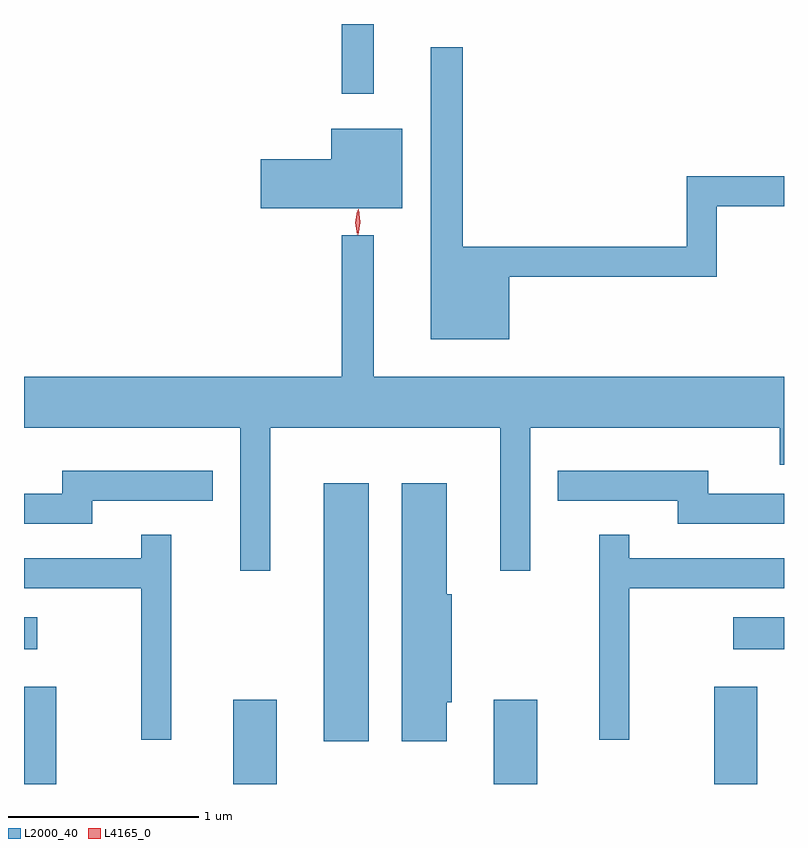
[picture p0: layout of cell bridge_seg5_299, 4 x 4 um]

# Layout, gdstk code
import gdstk
lib = gdstk.Library(unit=1e-6, precision=1e-09)
def R(c, l, rs):  # rectangles x0, y0, x1, y1
    for r in rs: c.add(gdstk.rectangle(r[:2], r[2:], *l))
def P(c, l, *ps):  # polygons
    for p in ps: c.add(gdstk.Polygon(p, *l))
L2000_40 = (2000, 40)
L4165_0 = (4165, 0)

bridge_seg5_299 = lib.new_cell('bridge_seg5_299')
R(bridge_seg5_299, L2000_40, [(670.259,1517.081,670.429,1517.594), (671.361,1517.081,671.589,1517.524), (672.731,1517.081,672.959,1517.524), (673.891,1517.081,674.119,1517.594), (671.836,1517.306,672.074,1518.664), (670.259,1517.791,670.328,1517.959), (673.993,1517.791,674.259,1517.959), (671.931,1520.713,672.099,1521.081)])
P(bridge_seg5_299, L2000_40, [(672.814,1519.751),(673.904,1519.751),(673.904,1520.121),(674.259,1520.121),(674.259,1520.279),(673.746,1520.279),(673.746,1519.909),(672.569,1519.909),(672.569,1520.958),(672.401,1520.958),(672.401,1519.421),(672.814,1519.421)],
  [(672.249,1520.529),(671.876,1520.529),(671.876,1520.369),(671.506,1520.369),(671.506,1520.111),(672.249,1520.111)],
  [(671.554,1518.956),(672.766,1518.956),(672.766,1518.203),(672.924,1518.203),(672.924,1518.956),(674.236,1518.956),(674.236,1518.761),(674.259,1518.761),(674.259,1519.224),(672.099,1519.224),(672.099,1519.968),(671.931,1519.968),(671.931,1519.224),(670.259,1519.224),(670.259,1518.956),(671.396,1518.956),(671.396,1518.203),(671.554,1518.203)],
  [(670.619,1518.571),(671.253,1518.571),(671.253,1518.729),(670.461,1518.729),(670.461,1518.609),(670.259,1518.609),(670.259,1518.451),(670.619,1518.451)],
  [(674.259,1518.609),(673.859,1518.609),(673.859,1518.729),(673.068,1518.729),(673.068,1518.571),(673.701,1518.571),(673.701,1518.451),(674.259,1518.451)],
  [(672.484,1517.511),(672.509,1517.511),(672.509,1518.079),(672.484,1518.079),(672.484,1518.664),(672.246,1518.664),(672.246,1517.306),(672.484,1517.306)],
  [(673.444,1518.111),(674.259,1518.111),(674.259,1518.269),(673.444,1518.269),(673.444,1518.393),(673.286,1518.393),(673.286,1517.313),(673.444,1517.313)],
  [(671.034,1518.393),(670.876,1518.393),(670.876,1518.269),(670.259,1518.269),(670.259,1518.111),(670.876,1518.111),(670.876,1517.313),(671.034,1517.313)])
P(bridge_seg5_299, L4165_0, [(672.013,1519.973),(672.012,1519.974),(672.003,1520.036),(672.012,1520.099),(672.013,1520.1),(672.013,1520.099),(672.023,1520.036),(672.013,1519.974)],
  [(672.018,1519.97),(672.018,1519.97),(672.009,1520.038),(672.019,1520.106),(672.02,1520.106),(672.02,1520.106),(672.029,1520.038),(672.019,1519.97)])

lib.write_gds('bridge_seg5_299.gds')
